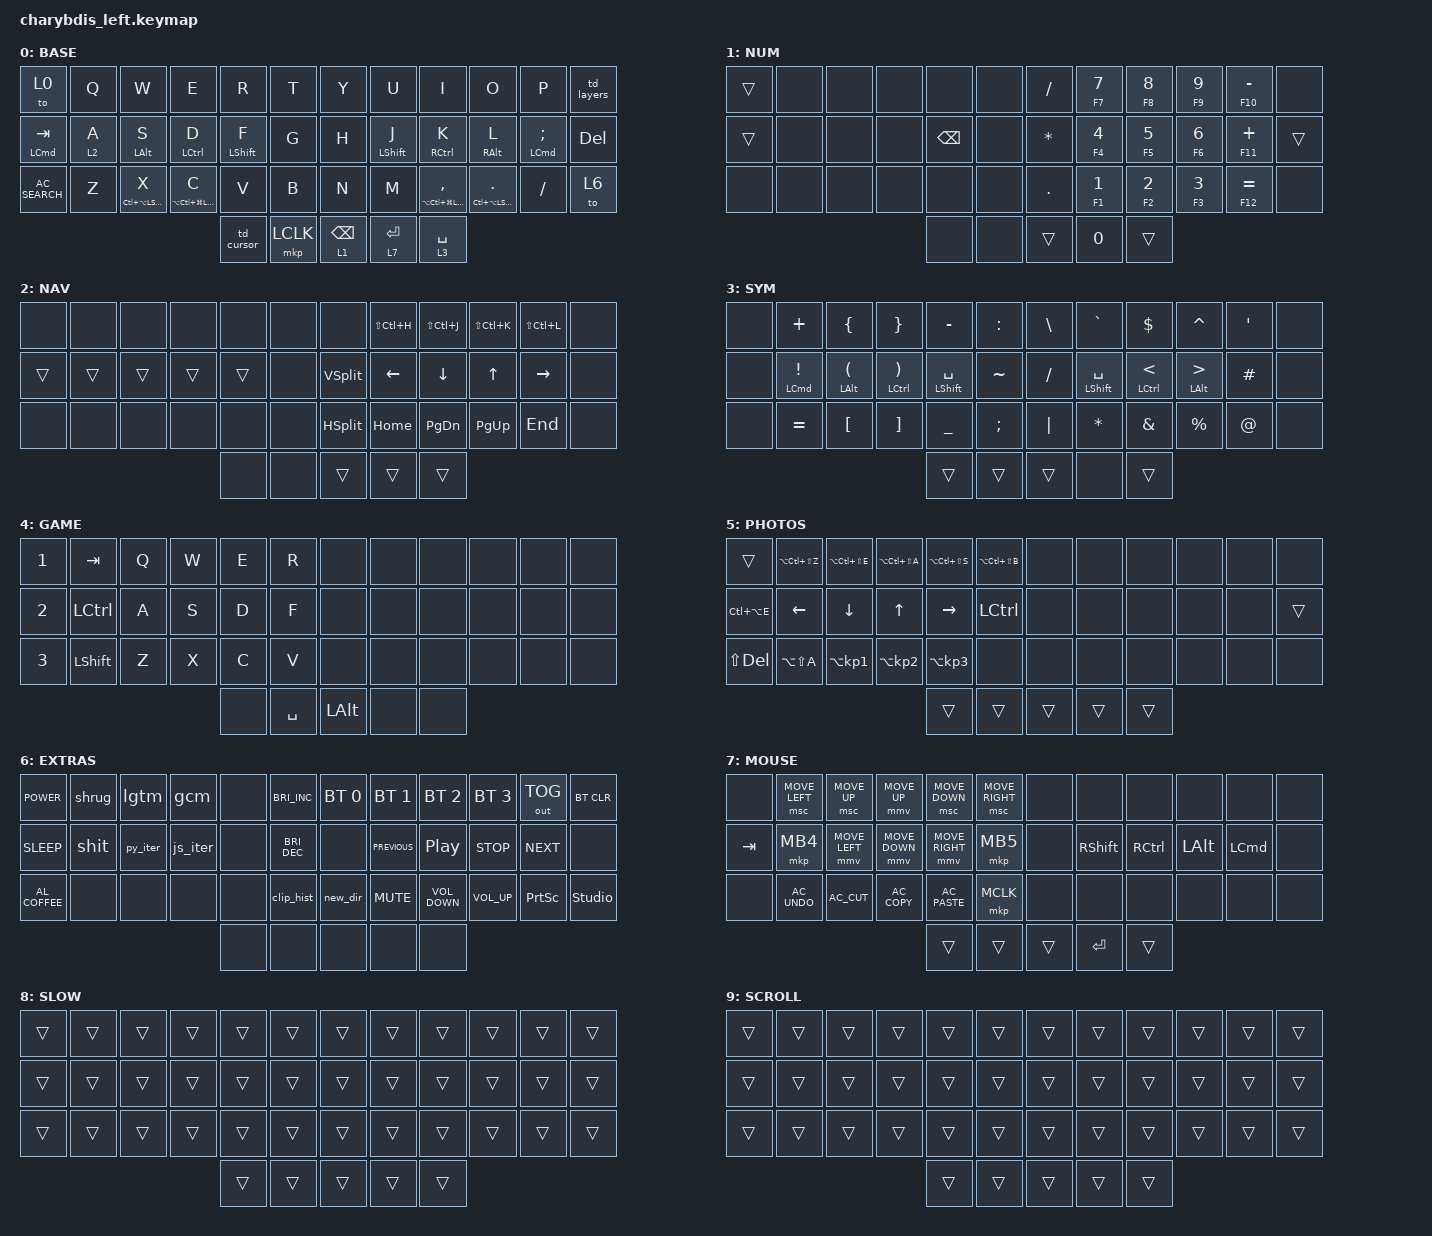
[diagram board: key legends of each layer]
#include <behaviors.dtsi>
#include <dt-bindings/zmk/bt.h>
#include <dt-bindings/zmk/keys.h>
#include <dt-bindings/zmk/mouse.h>
#include <dt-bindings/zmk/outputs.h>
#include <behaviors/mouse_keys.dtsi>
#include <dt-bindings/zmk/ext_power.h>
#include "macros.dtsi"

// / {
//     chosen { zmk,matrix_transform = &default_transform; };
// };

&kscan0 {
	compatible = "zmk,kscan-gpio-matrix";
	
	col-gpios
		= <&pro_micro 19 (GPIO_ACTIVE_HIGH | GPIO_PULL_DOWN)>
		, <&gpio1 7 (GPIO_ACTIVE_HIGH | GPIO_PULL_DOWN)>
		, <&pro_micro 10 (GPIO_ACTIVE_HIGH | GPIO_PULL_DOWN)>
		, <&pro_micro 6 (GPIO_ACTIVE_HIGH | GPIO_PULL_DOWN)>
		, <&pro_micro 7 (GPIO_ACTIVE_HIGH | GPIO_PULL_DOWN)>
		, <&pro_micro 8 (GPIO_ACTIVE_HIGH | GPIO_PULL_DOWN)>
		;

	row-gpios
		= <&pro_micro 18 GPIO_ACTIVE_HIGH>
		, <&pro_micro 5 GPIO_ACTIVE_HIGH>
		, <&pro_micro 4 GPIO_ACTIVE_HIGH>
		, <&pro_micro 9 GPIO_ACTIVE_HIGH>
		;
};

&gpio1 {
    status = "okay";
};

/ {
    /* input config for mouse move mode */
    trackball_listener {
        compatible = "zmk,input-behavior-listener";
        device = <&vtrackball>;
        layers = <0 2 7>;
        evt-type = <INPUT_EV_REL>;
        x-input-code = <INPUT_REL_X>;
        y-input-code = <INPUT_REL_Y>;
        scale-multiplier = <1>;
        scale-divisor = <2>;
        // bindings = <&ib_toggle_layer 7>;
    };

    /* input config for snipe mode */
    trackball_snipe_listener {
        compatible = "zmk,input-behavior-listener";   
        device = <&vtrackball>;
        layers = <8>;
        evt-type = <INPUT_EV_REL>;
        x-input-code = <INPUT_REL_X>;
        y-input-code = <INPUT_REL_Y>;
        scale-multiplier = <1>;
        scale-divisor = <4>;
    };

    /* input config for mouse scroll mode */
    trackball_scroll_listener {
        compatible = "zmk,input-behavior-listener";
        device = <&vtrackball>;
        layers = <9>;
        evt-type = <INPUT_EV_REL>;            
        x-input-code = <INPUT_REL_MISC>;
        y-input-code = <INPUT_REL_WHEEL>;
        y-invert;
        bindings = <&ib_wheel_scaler 1 14>;
    };

    /* define a resolution down scaler only for INPUT_REL_WHEEL */
    ib_wheel_scaler: ib_wheel_scaler {
        compatible = "zmk,input-behavior-scaler";
        #binding-cells = <2>;
        evt-type = <INPUT_EV_REL>;
        input-code = <INPUT_REL_WHEEL>;
    };

    /* adjust cooldown waiting period for mouse key layer after activated */
    ib_toggle_layer: ib_toggle_layer {
        compatible = "zmk,input-behavior-tog-layer";
        #binding-cells = <1>;
        time-to-live-ms = <750>;
    };

    behaviors {
        hm: homerow_mod {
            compatible = "zmk,behavior-hold-tap";
            #binding-cells = <2>;
            flavor = "tap-preferred";
            tapping-term-ms = <175>; // triggers the hold behavior when the tapping-term-ms has expired
            quick-tap-ms = <150>; // If you press a tapped hold-tap again within quick-tap-ms milliseconds of the first press, it will always trigger the tap behavior.
            require-prior-idle-ms = <185>; // like quick-tap-ms however it will apply for any non-modifier key pressed before it
            bindings = <&kp>, <&kp>;  // hold, tap
        };

        td_cursor: td_scroll_or_cursor {
            compatible = "zmk,behavior-tap-dance";
            #binding-cells = <0>;
            bindings = <&lt 9 ESC>, <&to 8>; // hold, tap, double_tap
        };

        httl: ht_two_layers {
            compatible = "zmk,behavior-hold-tap";
            bindings = <&mo>, <&to>;
            #binding-cells = <2>;
            flavor = "balanced";
            tapping-term-ms = <125>;
        };

        td_layers: td_layer_swap {
            compatible = "zmk,behavior-tap-dance";
            #binding-cells = <0>;
            bindings = <&to 0>, <&to 5>, <&to 4>; // tap, double_tap, tripple_tap
        };

        td_clk_scrl: td_click_or_scroll {
            compatible = "zmk,behavior-tap-dance";
            #binding-cells = <0>;
            tapping-term-ms = <250>;
            bindings = <&mkp RCLK>, <&mo 9>;  // tap/hold, double_tap
        };

        td_bore: BASE_or_EXTRA {
            compatible = "zmk,behavior-tap-dance";
            #binding-cells = <0>;
            bindings = <&mo 6>, <&to 0>;
        };
    };

    combos {
        compatible = "zmk,combos";

        CapsWord {
            bindings = <&caps_word>;
            key-positions = <17 18>;
            layers = <0>;
        };

        MiddleClick {
            bindings = <&mkp MCLK>;
            key-positions = <28 37>;
        };

        RightClick {
            bindings = <&mkp RCLK>;
            key-positions = <16 37>;
        };

        BASE_or_EXTRAS {
            bindings = <&td_bore>;
            key-positions = <38 39>;
        };

        // GameLayer {
        //     bindings = <&tog 4>;
        //     key-positions = <8 9>;
        // };

        // PhotoLayer {
        //     bindings = <&tog 5>;
        //     key-positions = <2 3>;
        // };
    };

// ╭──────┬──────┬──────┬──────┬──────┬──────╮  ╭──────┬──────┬──────┬──────┬──────┬──────╮
//    00     01     02     03    04      05        06     07     08     09     10     11
// ├──────┼──────┼──────┼──────┼──────┼──────┤  ├──────┼──────┼──────┼──────┼──────┼──────┤
//    12     13     14     15    16      17        18     19     20     21     22     23
// ├──────┼──────┼──────┼──────┼──────┼──────┤  ├──────┼──────┼──────┼──────┼──────┼──────┤
//    24     25     26     27    28      29        30     31     32     33     34     35
// ╰──────┴──────┴──────┼──────┼──────┼──────┤  ├──────┼──────┼──────┴──────┴──────┴──────╯
//                         36     37     38        39     40
//                      ╰──────┴──────┴──────╯  ╰──────┴──────╯
// #define BASE    0
// #define NUM     1
// #define NAV     2
// #define SYM     3
// #define GAME    4
// #define PHOTOS  5
// #define EXTRAS  6
// #define MOUSE   7
// #define SLOW    8
// #define SCROLL  9

    keymap {
        compatible = "zmk,keymap";
        BASE {
            bindings = <
// ╭────────────────┬──────────────┬─────────────────────────┬─────────────────────────────┬──────────────────┬──────────────────╮  ╭────────────────┬─────────────────┬──────────────────────────────────┬──────────────────────────────┬────────────────────────┬──────────────╮
    &to 0            &kp Q           &kp W                     &kp E                         &kp R              &kp T                 &kp Y             &kp U             &kp I                             &kp O                          &kp P                    &td_layers
// ├────────────────┼──────────────┼─────────────────────────┼─────────────────────────────┼──────────────────┼──────────────────┤  ├────────────────┼─────────────────┼──────────────────────────────────┼──────────────────────────────┼────────────────────────┼──────────────┤
    &hm LCMD TAB     &lt 2 A         &hm LEFT_ALT S            &hm LCTRL D                   &hm LEFT_SHIFT F   &kp G                 &kp H             &hm LEFT_SHIFT J  &hm RCTRL K                       &hm RIGHT_ALT L                &hm LCMD SEMICOLON       &kp DEL
// ├────────────────┼──────────────┼─────────────────────────┼─────────────────────────────┼──────────────────┼──────────────────┤  ├────────────────┼─────────────────┼──────────────────────────────────┼──────────────────────────────┼────────────────────────┼──────────────┤
    &kp C_AC_SEARCH  &kp Z           &hm LC(LA(LEFT_SHIFT)) X  &hm LA(LC(LG(LEFT_SHIFT))) C  &kp V              &kp B                 &kp N             &kp M             &hm LA(LC(LG(LEFT_SHIFT))) COMMA  &hm LC(LA(LEFT_SHIFT)) PERIOD  &kp FSLH                 &to 6 
// ╰────────────────┴──────────────┴─────────────────────────┼─────────────────────────────┼──────────────────┼──────────────────┤  ├────────────────┼─────────────────┼──────────────────────────────────┴──────────────────────────────┴────────────────────────┴──────────────╯
                                                                               &td_cursor    &mkp LCLK          &lt 1 BACKSPACE       &lt 7 RETURN      &lt 3 SPACE
                                                                          // ╰─────────────┴──────────────────┴──────────────────╯  ╰────────────────┴──────────────╯
            >;
        };

        NUM {
            bindings = <
&trans   &none  &none  &none  &none          &none    &kp SLASH  &hm F7 N7  &hm F8 N8  &hm F9 N9  &hm F10 MINUS  &none
&trans   &none  &none  &none  &kp BACKSPACE  &none    &kp ASTRK  &hm F4 N4  &hm F5 N5  &hm F6 N6  &hm F11 PLUS   &trans
&none    &none  &none  &none  &none          &none    &kp DOT    &hm F1 N1  &hm F2 N2  &hm F3 N3  &hm F12 EQUAL  &none
                       &none  &none          &trans   &kp N0     &trans
            >;
        };

        NAV {
            bindings = <
&none   &none   &none   &none   &none   &none     &none    &kp LS(LC(H))   &kp LS(LC(J))  &kp LS(LC(K))  &kp LS(LC(L))    &none
&trans  &trans  &trans  &trans  &trans  &none     &VSplit  &kp LEFT_ARROW  &kp DOWN       &kp UP         &kp RIGHT_ARROW  &none
&none   &none   &none   &none   &none   &none     &HSplit  &kp HOME        &kp PG_DN      &kp PG_UP      &kp END          &none
                        &none   &none   &trans    &trans   &trans
            >;
        };

        SYM {
            bindings = <
&none  &kp PLUS            &kp LEFT_BRACE     &kp RIGHT_BRACE  &kp MINUS             &kp COLON      &kp BSLH   &kp GRAVE             &kp DLLR      &kp CARET        &kp SQT      &none
&none  &hm LCMD EXCL  &hm LEFT_ALT LPAR  &hm LCTRL RPAR   &hm LEFT_SHIFT SPACE  &kp TILDE      &kp SLASH  &hm LEFT_SHIFT SPACE  &hm LCTRL LT  &hm LEFT_ALT GT  &kp HASH     &none
&none  &kp EQUAL           &kp LBKT           &kp RBKT         &kp UNDERSCORE        &kp SEMICOLON  &kp PIPE   &kp ASTRK             &kp AMPS      &kp PRCNT        &kp AT_SIGN  &none
                                              &trans           &trans                &trans         &none      &trans
            >;
        };

        GAME {
            bindings = <
&kp N1  &kp TAB    &kp Q  &kp W   &kp E      &kp R           &none  &none  &none  &none  &none  &none
&kp N2  &kp LCTRL  &kp A  &kp S   &kp D      &kp F           &none  &none  &none  &none  &none  &none
&kp N3  &kp LSHFT  &kp Z  &kp X   &kp C      &kp V           &none  &none  &none  &none  &none  &none
                          &none   &kp SPACE  &kp LEFT_ALT    &none  &none
            >;
        };

        PHOTOS {
            bindings = <
&trans          &kp LA(LC(LS(Z)))  &kp LA(LC(LS(E)))  &kp LA(LC(LS(A)))  &kp LA(LC(LS(S)))  &kp LA(LC(LS(B)))    &none   &none   &none  &none  &none  &none
&kp LC(LA(E))   &kp LEFT           &kp DOWN           &kp UP             &kp RIGHT          &kp LCTRL            &none   &none   &none  &none  &none  &trans
&kp LS(DELETE)  &kp LA(LS(A))      &kp LA(KP_N1)      &kp LA(KP_N2)      &kp LA(KP_N3)      &none                &none   &none   &none  &none  &none  &none
                                                      &trans             &trans             &trans               &trans  &trans
            >;
        };

        EXTRAS {
            bindings = <
&kp C_POWER       &shrug  &lgtm     &gcm      &none  &kp C_BRIGHTNESS_INC    &bt BT_SEL 0  &bt BT_SEL 1    &bt BT_SEL 2       &bt BT_SEL 3  &out OUT_TOG     &bt BT_CLR
&kp C_SLEEP       &shit   &py_iter  &js_iter  &none  &kp C_BRIGHTNESS_DEC    &none         &kp C_PREVIOUS  &kp C_PLAY_PAUSE   &kp C_STOP    &kp C_NEXT       &none
&kp C_AL_COFFEE   &none   &none     &none     &none  &clip_hist              &new_dir      &kp K_MUTE      &kp C_VOLUME_DOWN  &kp C_VOLUME_UP   &kp PRINTSCREEN  &studio_unlock
                                    &none     &none  &none                   &none         &none
            >;
        };

        MOUSE {
            bindings = <
&none    &msc MOVE_LEFT  &msc MOVE_UP    &mmv MOVE_UP    &msc MOVE_DOWN   &msc MOVE_RIGHT    &none  &none            &none      &none         &none          &none
&kp TAB  &mkp MB4        &mmv MOVE_LEFT  &mmv MOVE_DOWN  &mmv MOVE_RIGHT  &mkp MB5           &none  &kp RIGHT_SHIFT  &kp RCTRL  &kp LEFT_ALT  &kp LCMD  &none
&none    &kp C_AC_UNDO   &kp C_AC_CUT    &kp C_AC_COPY   &kp C_AC_PASTE   &mkp MCLK          &none  &none            &none      &none         &none          &none
                                         &trans          &trans           &trans             &kp RETURN              &trans
            >;
        };

        SLOW {
            bindings = <
&trans    &trans    &trans    &trans    &trans    &trans    &trans    &trans    &trans    &trans    &trans    &trans
&trans    &trans    &trans    &trans    &trans    &trans    &trans    &trans    &trans    &trans    &trans    &trans
&trans    &trans    &trans    &trans    &trans    &trans    &trans    &trans    &trans    &trans    &trans    &trans
                              &trans    &trans    &trans    &trans    &trans
            >;
        };

        SCROLL {
            bindings = <
&trans    &trans    &trans    &trans    &trans    &trans    &trans    &trans    &trans    &trans    &trans    &trans
&trans    &trans    &trans    &trans    &trans    &trans    &trans    &trans    &trans    &trans    &trans    &trans
&trans    &trans    &trans    &trans    &trans    &trans    &trans    &trans    &trans    &trans    &trans    &trans
                              &trans    &trans    &trans    &trans    &trans
            >;
        };
    };
};
